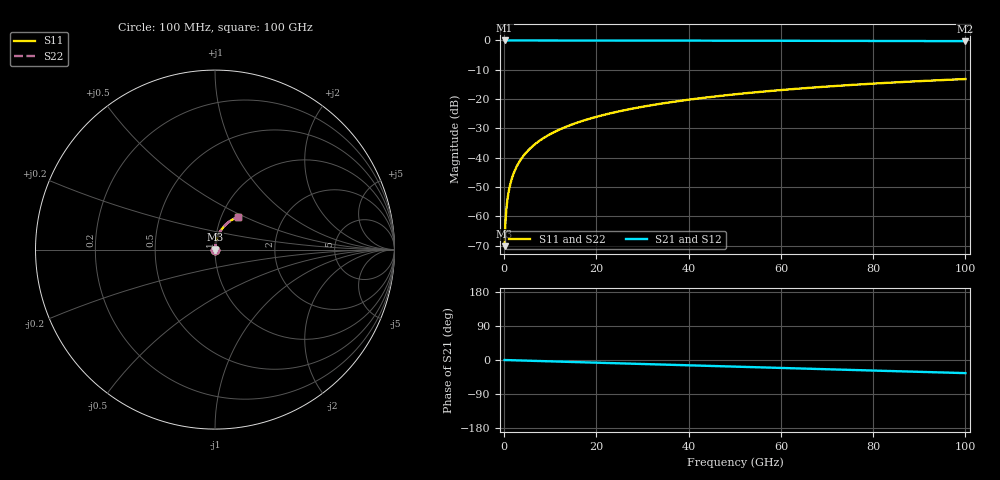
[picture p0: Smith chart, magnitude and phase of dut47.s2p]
! Touchstone file exported from HFSS 2026.1.0
!  File:  C:/ffzhzh/LocalFiles/Ansys_Project_Files/temp_train_TSV_47_1783504881_9504.aedt
!  Generated:  06:02:39 PM Jul  8, 2026
!  Design:  TSV
!  Project:  temp_train_TSV_47_1783504881_9504
! Variables:
!  h_bsmrdl = 2um
!  h_ox = 20um
!  h_rdl = 5um
!  h_sub = 56.96um
!  h_tmrdl = 5um
!  h_tsv = 56.96um
!  h_via = 3um
!  l_bsmrdl = 300um
!  l_sub = 416.5um
!  l_tmrdl = 200um
!  m_sub = 200um
!  pitch = 56.8um
!  r_tsv = 8.25um
!  s_tmrdl = 10um
!  w_bsmrdl = 18um
!  w_sub = 500um
!  w_tmrdl = 12um
!  x_tsv_center1 = 206um
!  x_tsv_center2 = 524um
!  x_tsv_center3 = 736um
!  x_tsv_center4 = 1054um
!  x_tsv_center5 = 1266um
!  x_tsv_center6 = 1584um
# GHz S MA R 50.000000
! Terminal data exported
! Port[1] = TSV1_1_T1
! Port[2] = TSV1_1_T2
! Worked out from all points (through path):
!   1000 points, 100 MHz to 100 GHz, reference 50 ohm
!   highest |S21| = 0.00 dB at 100 MHz (marker M1); lowest = -0.2 dB at 100 GHz (marker M2)
!   group delay of S21, straight-line fit = 961 fs
!   lowest |S11| = -70.2 dB at 100 MHz (marker M3), VSWR 1.00, Z = 50 + j0.0282 ohm
!   |S11| at or under -10 dB: start of sweep to end of sweep
!   |S22| runs from -70.2 to -13.2 dB; largest |S21 - S12| = 6.9e-15
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0.1  0.0003105 65.3  0.9999 -0.0  0.9999 -0.0  0.0003105 65.3
! Gamma 0 0 0 0
! Port Impedance 50 0 50 0
0.3  0.0008483 79.5  0.9998 -0.1  0.9998 -0.1  0.0008483 79.5
0.7  0.001906 83.6  0.9998 -0.3  0.9998 -0.3  0.001906 83.6
0.8  0.002167 84.0  0.9998 -0.3  0.9998 -0.3  0.002167 84.0
1  0.002687 84.6  0.9998 -0.4  0.9998 -0.4  0.002687 84.6
1.3  0.003463 85.2  0.9997 -0.5  0.9997 -0.5  0.003463 85.2
1.7  0.004493 85.5  0.9997 -0.6  0.9997 -0.6  0.004493 85.5
2.3  0.006024 85.8  0.9996 -0.8  0.9996 -0.8  0.006024 85.8
3  0.007796 85.9  0.9996 -1.1  0.9996 -1.1  0.007796 85.9
3.8  0.009808 85.9  0.9995 -1.4  0.9995 -1.4  0.009808 85.9
4.8  0.01231 85.8  0.9994 -1.7  0.9994 -1.7  0.01231 85.8
6  0.01531 85.7  0.9993 -2.1  0.9993 -2.1  0.01531 85.7
8.8  0.02229 85.1  0.999 -3.1  0.999 -3.1  0.02229 85.1
12.4  0.03121 84.0  0.9987 -4.4  0.9987 -4.4  0.03121 84.0
16.8  0.04204 82.7  0.9981 -5.9  0.9981 -5.9  0.04204 82.7
24.2  0.06009 80.3  0.997 -8.5  0.997 -8.5  0.06009 80.3
33.4  0.08216 77.3  0.9952 -11.8  0.9952 -11.8  0.08216 77.3
41.2  0.1005 74.6  0.9934 -14.5  0.9934 -14.5  0.1005 74.6
50.1  0.1208 71.6  0.991 -17.6  0.991 -17.6  0.1208 71.6
66.7  0.1569 66.0  0.9857 -23.3  0.9857 -23.3  0.1569 66.0
83.4  0.1902 60.4  0.9796 -29.0  0.9796 -29.0  0.1902 60.4
100  0.2198 54.9  0.9731 -34.6  0.9731 -34.6  0.2198 54.9
